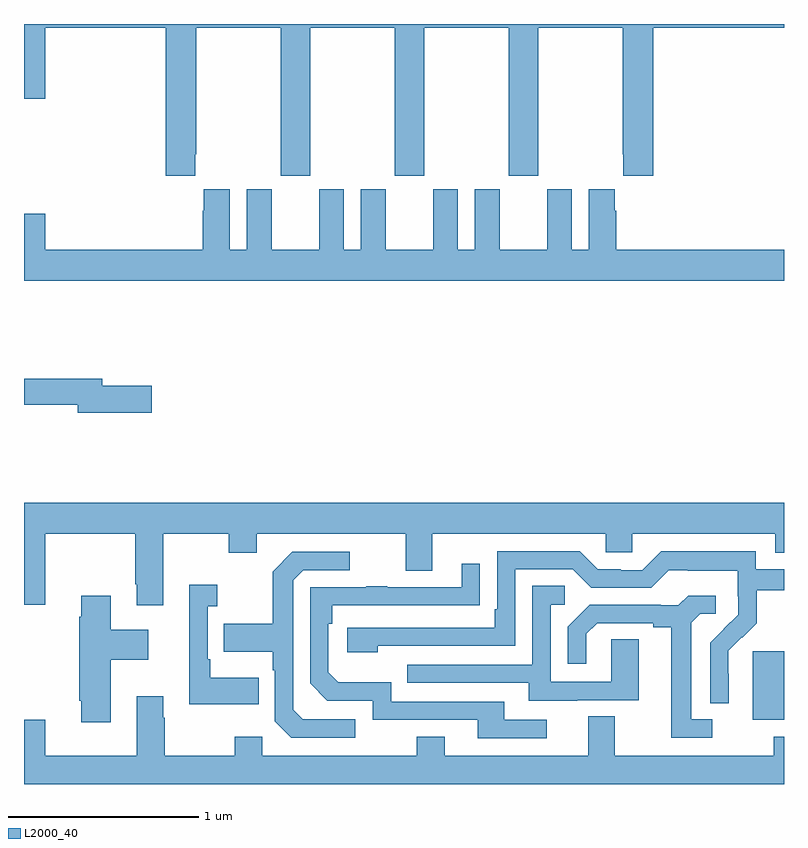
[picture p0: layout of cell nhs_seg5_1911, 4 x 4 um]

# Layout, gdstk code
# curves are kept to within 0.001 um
import gdstk
lib = gdstk.Library(unit=1e-6, precision=1e-09)
def R(c, l, rs):  # rectangles x0, y0, x1, y1
    for r in rs: c.add(gdstk.rectangle(r[:2], r[2:], *l))
def P(c, l, *ps):  # polygons
    for p in ps: c.add(gdstk.Polygon(p, *l))
L2000_40 = (2000, 40)

nhs_seg5_1911 = lib.new_cell('nhs_seg5_1911')
R(nhs_seg5_1911, L2000_40, [(228.836,833.138,229,833.499)])
P(nhs_seg5_1911, L2000_40, [(225.901,836.113),(225.906,836.113),(225.906,836.78),(226.351,836.78),(226.351,836.001),(226.506,836.001),(226.506,836.78),(226.951,836.78),(226.951,836.001),(227.106,836.001),(227.106,836.78),(227.551,836.78),(227.551,836.001),(227.706,836.001),(227.706,836.78),(228.151,836.78),(228.151,836.113),(228.155,836.113),(228.155,836.001),(228.311,836.001),(228.311,836.78),(229,836.78),(229,836.799),(225,836.799),(225,836.406),(225.112,836.406),(225.112,836.78),(225.746,836.78),(225.746,836.001),(225.901,836.001)],
  [(229,835.612),(228.116,835.612),(228.116,835.817),(228.109,835.817),(228.109,835.93),(227.972,835.93),(227.972,835.612),(227.884,835.612),(227.884,835.93),(227.753,835.93),(227.753,835.612),(227.503,835.612),(227.503,835.93),(227.372,835.93),(227.372,835.612),(227.284,835.612),(227.284,835.93),(227.153,835.93),(227.153,835.612),(226.903,835.612),(226.903,835.93),(226.772,835.93),(226.772,835.612),(226.684,835.612),(226.684,835.93),(226.553,835.93),(226.553,835.612),(226.303,835.612),(226.303,835.93),(226.172,835.93),(226.172,835.612),(226.084,835.612),(226.084,835.93),(225.947,835.93),(225.947,835.817),(225.941,835.817),(225.941,835.612),(225.112,835.612),(225.112,835.801),(225,835.801),(225,835.448),(229,835.448)],
  [(225.673,834.896),(225.412,834.896),(225.412,834.932),(225,834.932),(225,834.796),(225.284,834.796),(225.284,834.754),(225.673,834.754)],
  [(225.733,834.116),(226.078,834.116),(226.078,834.017),(226.225,834.017),(226.225,834.116),(227.009,834.116),(227.009,833.922),(227.149,833.922),(227.149,834.116),(228.063,834.116),(228.063,834.018),(228.201,834.018),(228.201,834.116),(228.953,834.116),(228.953,834.017),(229,834.017),(229,834.28),(225,834.28),(225,833.742),(225.112,833.742),(225.112,834.116),(225.586,834.116),(225.586,833.851),(225.593,833.851),(225.593,833.739),(225.733,833.739)],
  [(228.708,833.378),(228.707,833.501),(228.777,833.571),(228.78,833.568),(228.857,833.645),(228.857,833.82),(229,833.82),(229,833.928),(228.852,833.928),(228.852,834.025),(228.355,834.025),(228.255,833.925),(228.14,833.925),(228.14,833.928),(228.021,833.928),(227.925,834.024),(227.49,834.024),(227.49,833.719),(227.477,833.719),(227.477,833.622),(226.701,833.622),(226.701,833.492),(226.862,833.492),(226.862,833.526),(227.586,833.526),(227.586,833.928),(227.889,833.928),(227.985,833.832),(228.3,833.832),(228.393,833.925),(228.493,833.925),(228.493,833.921),(228.756,833.921),(228.756,833.787),(228.758,833.787),(228.758,833.69),(228.612,833.542),(228.612,833.224),(228.708,833.224)],
  [(226.744,833.139),(226.467,833.139),(226.416,833.19),(226.416,833.871),(226.47,833.925),(226.714,833.925),(226.714,834.021),(226.413,834.021),(226.308,833.915),(226.308,833.643),(226.051,833.643),(226.051,833.495),(226.308,833.495),(226.308,833.399),(226.32,833.399),(226.32,833.13),(226.407,833.043),(226.744,833.043)],
  [(227.752,833.136),(227.527,833.136),(227.527,833.232),(226.932,833.232),(226.932,833.335),(226.655,833.335),(226.602,833.388),(226.602,833.642),(226.622,833.642),(226.622,833.739),(227.399,833.74),(227.399,833.959),(227.303,833.959),(227.303,833.835),(226.913,833.835),(226.913,833.84),(226.801,833.84),(226.801,833.835),(226.506,833.835),(226.506,833.328),(226.596,833.238),(226.836,833.238),(226.836,833.136),(227.387,833.136),(227.387,833.04),(227.752,833.04)],
  [(226.235,833.359),(225.979,833.359),(225.979,833.455),(225.966,833.455),(225.966,833.735),(226.018,833.735),(226.018,833.848),(225.869,833.848),(225.869,833.219),(226.235,833.219)],
  [(227.911,833.241),(228.235,833.241),(228.235,833.561),(228.09,833.561),(228.09,833.337),(227.772,833.337),(227.772,833.742),(227.845,833.742),(227.845,833.843),(227.676,833.843),(227.676,833.427),(227.017,833.427),(227.017,833.331),(227.657,833.331),(227.657,833.237),(227.911,833.237)],
  [(228.622,833.139),(228.511,833.139),(228.511,833.647),(228.558,833.694),(228.64,833.694),(228.64,833.791),(228.496,833.791),(228.444,833.739),(228.35,833.739),(228.35,833.742),(227.978,833.742),(227.862,833.626),(227.862,833.433),(227.959,833.433),(227.959,833.589),(228.016,833.646),(228.311,833.646),(228.311,833.624),(228.407,833.624),(228.407,833.043),(228.622,833.043)],
  [(225.457,833.453),(225.655,833.453),(225.655,833.611),(225.457,833.611),(225.457,833.791),(225.302,833.791),(225.302,833.678),(225.29,833.678),(225.29,833.236),(225.302,833.236),(225.302,833.124),(225.457,833.124)],
  [(229,833.047),(228.946,833.047),(228.946,832.948),(228.109,832.948),(228.109,833.156),(227.969,833.156),(227.969,832.948),(227.215,832.948),(227.215,833.047),(227.068,833.047),(227.068,832.948),(226.254,832.948),(226.254,833.047),(226.108,833.047),(226.108,832.948),(225.741,832.948),(225.741,833.147),(225.733,833.147),(225.733,833.26),(225.593,833.26),(225.593,832.948),(225.112,832.948),(225.112,833.137),(225,833.137),(225,832.799),(229,832.799)])

lib.write_gds('nhs_seg5_1911.gds')
